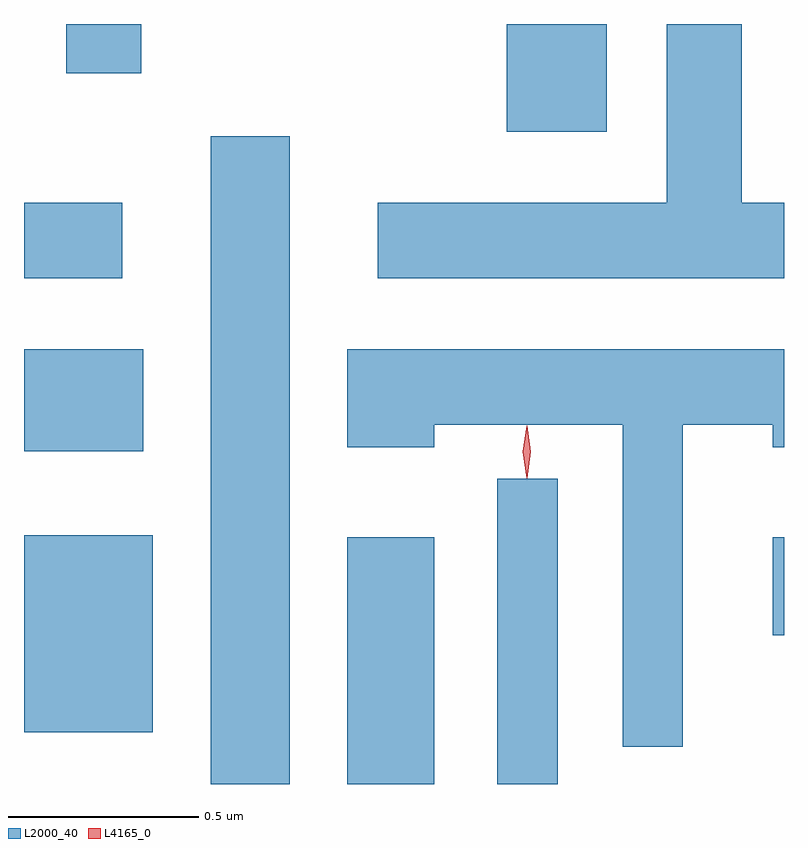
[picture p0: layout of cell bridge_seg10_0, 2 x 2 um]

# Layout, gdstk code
import gdstk
lib = gdstk.Library(unit=1e-6, precision=1e-09)
def R(c, l, rs):  # rectangles x0, y0, x1, y1
    for r in rs: c.add(gdstk.rectangle(r[:2], r[2:], *l))
def P(c, l, *ps):  # polygons
    for p in ps: c.add(gdstk.Polygon(p, *l))
L2000_40 = (2000, 40)
L4165_0 = (4165, 0)

bridge_seg10_0 = lib.new_cell('bridge_seg10_0')
R(bridge_seg10_0, L2000_40, [(1882.936,2208.73,1883.144,2210.434), (1883.296,2208.73,1883.524,2209.379), (1883.691,2208.73,1883.849,2209.533), (1882.445,2208.866,1882.784,2209.384), (1884.416,2209.121,1884.445,2209.379), (1882.445,2209.606,1882.759,2209.874), (1882.445,2210.061,1882.704,2210.259), (1883.716,2210.446,1883.979,2210.73), (1882.556,2210.601,1882.754,2210.73)])
P(bridge_seg10_0, L2000_40, [(1884.445,2210.259),(1884.334,2210.259),(1884.334,2210.73),(1884.136,2210.73),(1884.136,2210.259),(1883.376,2210.259),(1883.376,2210.061),(1884.445,2210.061)],
  [(1884.179,2209.676),(1884.416,2209.676),(1884.416,2209.616),(1884.445,2209.616),(1884.445,2209.874),(1883.296,2209.874),(1883.296,2209.616),(1883.524,2209.616),(1883.524,2209.676),(1884.021,2209.676),(1884.021,2208.828),(1884.179,2208.828)])
P(bridge_seg10_0, L4165_0, [(1883.768,2209.534),(1883.768,2209.534),(1883.758,2209.604),(1883.768,2209.673),(1883.768,2209.673),(1883.769,2209.673),(1883.778,2209.604),(1883.769,2209.534)])

lib.write_gds('bridge_seg10_0.gds')
